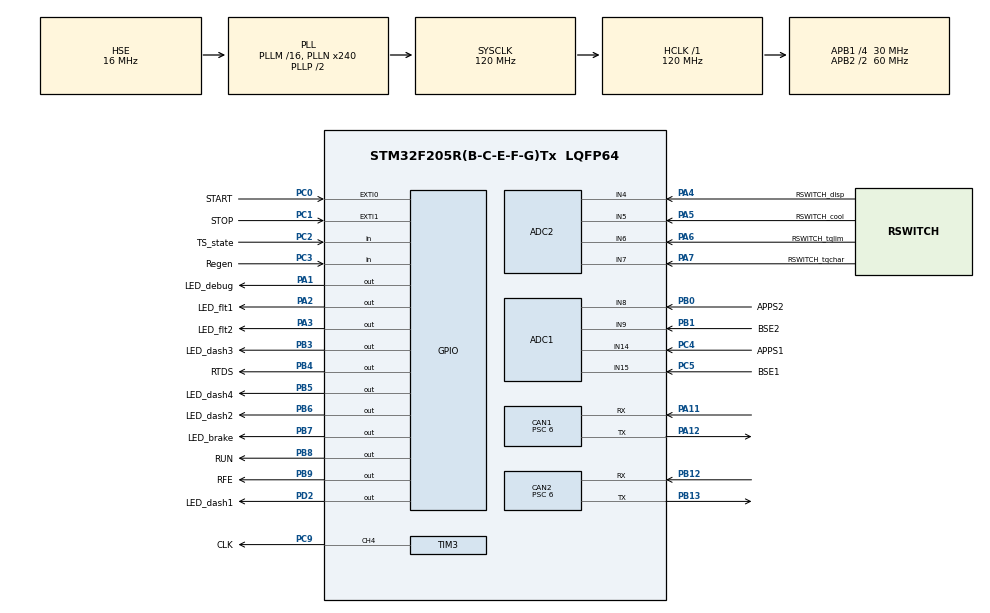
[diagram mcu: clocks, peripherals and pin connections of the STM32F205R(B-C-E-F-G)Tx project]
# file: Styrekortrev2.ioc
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ADC1.Channel-0\#ChannelRegularConversion=ADC_CHANNEL_14
ADC1.ClockPrescaler=ADC_CLOCK_SYNC_PCLK_DIV6
ADC1.NbrOfConversionFlag=1
ADC1.Rank-0\#ChannelRegularConversion=1
ADC1.SamplingTime-0\#ChannelRegularConversion=ADC_SAMPLETIME_3CYCLES
ADC1.master=1
ADC2.Channel-0\#ChannelRegularConversion=ADC_CHANNEL_4
ADC2.ClockPrescaler=ADC_CLOCK_SYNC_PCLK_DIV6
ADC2.NbrOfConversionFlag=1
ADC2.Rank-0\#ChannelRegularConversion=1
ADC2.SamplingTime-0\#ChannelRegularConversion=ADC_SAMPLETIME_3CYCLES
CAN1.BS1=CAN_BS1_3TQ
CAN1.BS2=CAN_BS2_6TQ
CAN1.CalculateBaudRate=500000
CAN1.CalculateTimeBit=2000
CAN1.CalculateTimeQuantum=200.0
CAN1.Prescaler=6
CAN2.BS1=CAN_BS1_3TQ
CAN2.BS2=CAN_BS2_6TQ
CAN2.CalculateBaudRate=500000
CAN2.CalculateTimeBit=2000
CAN2.CalculateTimeQuantum=200.0
CAN2.Prescaler=6
Mcu.Family=STM32F2
Mcu.Name=STM32F205R(B-C-E-F-G)Tx
Mcu.Package=LQFP64
NVIC.CAN1_RX0_IRQn=true\:0\:0\:false\:false\:true\:true\:true\:true
NVIC.CAN1_RX1_IRQn=true\:0\:0\:false\:false\:true\:true\:true\:true
NVIC.CAN2_RX1_IRQn=true\:0\:0\:false\:false\:true\:true\:true\:true
NVIC.EXTI0_IRQn=true\:0\:0\:false\:false\:true\:true\:true\:true
NVIC.EXTI1_IRQn=true\:0\:0\:false\:false\:true\:true\:true\:true
NVIC.PriorityGroup=NVIC_PRIORITYGROUP_4
NVIC.TIM6_DAC_IRQn=true\:0\:0\:false\:false\:true\:true\:true\:true
NVIC.TIM7_IRQn=true\:0\:0\:false\:false\:true\:true\:true\:true
PA1.GPIO_Label=LED_debug
PA1.Signal=GPIO_Output
PA10.GPIO_Label=RS_RX
PA10.GPIO_Speed=GPIO_SPEED_FREQ_LOW
PA10.Signal=USART1_RX
PA11.GPIO_Speed=GPIO_SPEED_FREQ_LOW
PA11.Mode=CAN_Activate
PA11.Signal=CAN1_RX
PA12.GPIO_Speed=GPIO_SPEED_FREQ_LOW
PA12.Mode=CAN_Activate
PA12.Signal=CAN1_TX
PA13.Signal=SYS_JTMS-SWDIO
PA14.Signal=SYS_JTCK-SWCLK
PA2.GPIO_Label=LED_flt1
PA2.Signal=GPIO_Output
PA3.GPIO_Label=LED_flt2
PA3.Signal=GPIO_Output
PA4.GPIO_Label=RSWITCH_disp
PA4.Signal=ADCx_IN4
PA5.GPIO_Label=RSWITCH_cool
PA5.Signal=ADCx_IN5
PA6.GPIO_Label=RSWITCH_tqlim
PA6.Signal=ADCx_IN6
PA7.GPIO_Label=RSWITCH_tqchar
PA7.Signal=ADCx_IN7
PA9.GPIO_Label=RS_TX
PA9.GPIO_Speed=GPIO_SPEED_FREQ_LOW
PA9.Signal=USART1_TX
PB0.GPIO_Label=APPS2
PB0.Signal=ADCx_IN8
PB1.GPIO_Label=BSE2
PB1.Signal=ADCx_IN9
PB12.GPIO_Speed=GPIO_SPEED_FREQ_LOW
PB12.Mode=CAN_Activate
PB12.Signal=CAN2_RX
PB13.GPIO_Speed=GPIO_SPEED_FREQ_LOW
PB13.Mode=CAN_Activate
PB13.Signal=CAN2_TX
PB3.GPIO_Label=LED_dash3
PB3.Signal=GPIO_Output
PB4.GPIO_Label=RTDS
PB4.Signal=GPIO_Output
PB5.GPIO_Label=LED_dash4
PB5.Signal=GPIO_Output
PB6.GPIO_Label=LED_dash2
PB6.Signal=GPIO_Output
PB7.GPIO_Label=LED_brake
PB7.Signal=GPIO_Output
PB8.GPIO_Label=RUN
PB8.Signal=GPIO_Output
PB9.GPIO_Label=RFE
PB9.Signal=GPIO_Output
PC0.GPIO_Label=START
PC0.Signal=GPXTI0
PC1.GPIO_Label=STOP
PC1.Signal=GPXTI1
PC2.GPIO_Label=TS_state
PC2.Signal=GPIO_Input
PC3.GPIO_Label=Regen
PC3.Signal=GPIO_Input
PC4.GPIO_Label=APPS1
PC4.Signal=ADCx_IN14
PC5.GPIO_Label=BSE1
PC5.Signal=ADCx_IN15
PC9.GPIO_Label=CLK
PC9.Signal=S_TIM3_CH4
PD2.GPIO_Label=LED_dash1
PD2.Signal=GPIO_Output
PH0-OSC_IN.Mode=HSE-External-Oscillator
PH0-OSC_IN.Signal=RCC_OSC_IN
PH1-OSC_OUT.Mode=HSE-External-Oscillator
PH1-OSC_OUT.Signal=RCC_OSC_OUT
ProjectManager.HeapSize=0x200
ProjectManager.StackSize=0x400
ProjectManager.TargetToolchain=STM32CubeIDE
RCC.48MHZClocksFreq_Value=60000000
RCC.AHBFreq_Value=120000000
RCC.APB1CLKDivider=RCC_HCLK_DIV4
RCC.APB1Freq_Value=30000000
RCC.APB1TimFreq_Value=60000000
RCC.APB2CLKDivider=RCC_HCLK_DIV2
RCC.APB2Freq_Value=60000000
RCC.APB2TimFreq_Value=120000000
RCC.CortexFreq_Value=120000000
RCC.HCLKFreq_Value=120000000
RCC.HSE_VALUE=16000000
RCC.HSI_VALUE=16000000
RCC.LSE_VALUE=32768
RCC.PLLN=240
RCC.PLLSourceVirtual=RCC_PLLSOURCE_HSE
RCC.SYSCLKFreq_VALUE=120000000
RCC.SYSCLKSource=RCC_SYSCLKSOURCE_PLLCLK
RCC.VCOOutputFreq_Value=240000000
SH.ADCx_IN14.0=ADC1_IN14,IN14
SH.ADCx_IN15.0=ADC1_IN15,IN15
SH.ADCx_IN4.0=ADC2_IN4,IN4
SH.ADCx_IN5.0=ADC2_IN5,IN5
SH.ADCx_IN6.0=ADC2_IN6,IN6
SH.ADCx_IN7.0=ADC2_IN7,IN7
SH.ADCx_IN8.0=ADC1_IN8,IN8
SH.ADCx_IN9.0=ADC1_IN9,IN9
SH.S_TIM3_CH4.0=TIM3_CH4,PWM Generation4 CH4
TIM3.Channel-PWM\ Generation4\ CH4=TIM_CHANNEL_4
TIM3.OCMode_PWM-PWM\ Generation4\ CH4=TIM_OCMODE_PWM1
TIM3.Period=240-1
TIM3.Prescaler=10-1
TIM3.Pulse-PWM\ Generation4\ CH4=120
TIM6.Period=10000-1
TIM6.Prescaler=600-1
TIM7.Period=1000-1
TIM7.Prescaler=600-1
VP_TIM3_VS_ClockSourceINT.Mode=Internal
VP_TIM6_VS_ClockSourceINT.Mode=Enable_Timer
VP_TIM7_VS_ClockSourceINT.Mode=Enable_Timer
board=custom

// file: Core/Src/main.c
/* USER CODE BEGIN Header */
/**
  ******************************************************************************
  * @file           : main.c
  * @brief          : Main program body
  ******************************************************************************
  * @attention
  *
  * Copyright (c) 2023 STMicroelectronics.
  * All rights reserved.
  *
  * This software is licensed under terms that can be found in the LICENSE file
  * in the root directory of this software component.
  * If no LICENSE file comes with this software, it is provided AS-IS.
  *
  ******************************************************************************
  */
/* USER CODE END Header */
#include "main.h"

/* USER CODE BEGIN Includes */
#include "power_limiter.h"

/* USER CODE END Includes */

ADC_HandleTypeDef hadc1;
ADC_HandleTypeDef hadc2;

CAN_HandleTypeDef hcan1;
CAN_HandleTypeDef hcan2;

TIM_HandleTypeDef htim3;
TIM_HandleTypeDef htim6;
TIM_HandleTypeDef htim7;

/* USER CODE BEGIN PV */

// Regen
volatile uint8_t Regen_on = 0;

volatile uint8_t TS_state;			//TS state from accumulator
volatile int32_t MCU_Data;

// RTD variables
volatile uint16_t RTDS_time = 0;		// active time for rtds
volatile uint16_t RTDS_maxtime = 30;		// deactivation time for rtds, calculate value
volatile uint8_t RTDS_mode = 0;
volatile uint8_t RTD_state = 0;		// ready to drive state

// Startup LED
volatile uint16_t Startup_time = 0;		// active time for rtds
volatile uint16_t Startup_maxtime = 30;		// deactivation time for rtds, calculate value
volatile uint8_t Startup_mode = 0;

// Dash control variables
volatile uint8_t log_sw;		// log switch state
volatile uint8_t Disp_mode = 0;
volatile uint16_t RSW_predisp1 = 0;
volatile uint16_t RSW_predisp2 = 0;
volatile uint16_t RSW_predisp3 = 0;
volatile uint16_t RSW_predisp4 = 0;
volatile uint16_t RSW_predisp5 = 0;
volatile uint16_t RSW_predisp6 = 0;
volatile uint16_t RSW_predisp7 = 0;
volatile uint16_t RSW_disp;
volatile uint16_t RSW_pretemp1 = 0;
volatile uint16_t RSW_pretemp2 = 0;
volatile uint16_t RSW_pretemp3 = 0;
volatile uint16_t RSW_pretemp4 = 0;
volatile uint16_t RSW_pretemp5 = 0;
volatile uint16_t RSW_pretemp6 = 0;
volatile uint16_t RSW_pretemp7 = 0;
volatile uint16_t RSW_temp;
volatile uint16_t RSW_preTQlim1 = 0;
volatile uint16_t RSW_preTQlim2 = 0;
volatile uint16_t RSW_preTQlim3 = 0;
volatile uint16_t RSW_preTQlim4 = 0;
volatile uint16_t RSW_preTQlim5 = 0;
volatile uint16_t RSW_preTQlim6 = 0;
volatile uint16_t RSW_preTQlim7 = 0;
volatile uint16_t RSW_TQlim;
volatile uint16_t RSW_preTQchar1 = 0;
volatile uint16_t RSW_preTQchar2 = 0;
volatile uint16_t RSW_preTQchar3 = 0;
volatile uint16_t RSW_preTQchar4 = 0;
volatile uint16_t RSW_preTQchar5 = 0;
volatile uint16_t RSW_preTQchar6 = 0;
volatile uint16_t RSW_preTQchar7 = 0;
volatile uint16_t RSW_TQchar;
volatile uint8_t Disp_pos;
volatile uint8_t Temp_pos;
volatile uint8_t TQchar_pos;
volatile uint8_t TQlim_pos;
volatile uint8_t Pre_Disp_pos;
volatile uint8_t Pre_Temp_pos;
volatile uint8_t Pre_TQchar_pos;
volatile uint8_t Pre_TQlim_pos;

// IMU
volatile uint8_t acc;

// Temperature

volatile uint8_t temp;		// temperature reported from temperature module
volatile uint8_t tempmax = 50;		//maximum temperature threshold before warning
volatile uint8_t Temp_mode = 0;		// temp control mode

// APPS CAL
#define APPS_DZ 			300
#define APPS1_RAW_IDLE_L	1567
#define APPS1_RAW_IDLE_R	1561
#define APPS1_RAW_MAX_L		2900
#define APPS1_RAW_MAX_R		2900
#define APPS2_RAW_IDLE_L	2680
#define APPS2_RAW_IDLE_R	2710
#define APPS2_RAW_MAX_L		4050
#define APPS2_RAW_MAX_R		4083

#define APPS1_RAW_IDLE_AVG	((APPS1_RAW_IDLE_L+APPS1_RAW_IDLE_R)/2)
#define APPS1_RAW_MAX_AVG	((APPS1_RAW_MAX_L+APPS1_RAW_MAX_R)/2)
#define APPS2_RAW_IDLE_AVG	((APPS2_RAW_IDLE_L+APPS2_RAW_IDLE_R)/2)
#define APPS2_RAW_MAX_AVG	((APPS2_RAW_MAX_L+APPS2_RAW_MAX_R)/2)

int16_t MCU_id, MCU_iq, MCU_vd, MCU_vq, MCU_RPM, MCU_Vdc;
int16_t AMS_idc, AMS_ilimp, AMS_ilimn;
uint16_t AMS_vdc;

volatile uint16_t APPS1_raw;        // read APPS1 adc value

volatile uint16_t APPS2_raw;        // read APPS2 adc value
volatile uint16_t APPS1;        // APPS1 travel percentage
volatile uint16_t APPS2;        // APPS2 travel percentage
volatile uint16_t APPS_offset = 3266;
volatile uint16_t APPS1_idle = APPS1_RAW_IDLE_AVG;    // idle value for apps1
volatile uint16_t APPS2_idle = APPS2_RAW_IDLE_AVG;    // idle value for apps2
volatile float APPS1_x = (10000 + APPS_DZ)/(APPS1_RAW_MAX_AVG-APPS1_RAW_IDLE_AVG);    // apps1 conversion multiplier
volatile float APPS2_x = (10000 + APPS_DZ)/(APPS2_RAW_MAX_AVG-APPS2_RAW_IDLE_AVG);    // apps2 conversion  multiplier
volatile uint16_t APPS_avg;        // average value from APPS sensors
volatile uint16_t APPS_error;        // percent error from plausability check
volatile uint16_t APPS_maxerror = 910;        // Maximum error from plausability check
volatile uint16_t APPS_dz = APPS_DZ;        // APPS deadzone
volatile uint16_t APPS_min = 800; 		// Minimum travel for BSPD to activate (før 300)

// BSE

volatile uint16_t BSE1_raw;        // read BSE1 adc value
volatile uint16_t BSE2_raw;        // read BSE2 adc value
volatile uint16_t BSE1;        // BSE1 travel percentage
volatile uint16_t BSE2;        // BSE2 travel percentage
volatile uint16_t BSE1_idle = 390;    // idle value for BSE1
volatile uint16_t BSE2_idle = 385;    // idle value for BSE2
volatile uint16_t BSE_brake;        // minimum BSE value for brakelight
volatile uint16_t BSE1_error;        // percent error from plausability check
volatile uint16_t BSE2_error;
//volatile uint16_t BSE_maxerror = 2000;        // Maximum error from plausability check, find better value (var 350)
volatile uint16_t BSE_avg;        // average value from BSE sensors
volatile uint16_t BSE_min = 200;        // Minimum travel for BSPD to activate (tidligere 14)
volatile uint16_t brakeL_min = 120;
volatile uint16_t BSE_start = 1000;        // minimum BSE travel to start
volatile uint16_t BSE1_minerror = 100;		//Må måles
volatile uint16_t BSE2_minerror = 100;		//Må måles
volatile uint16_t BSE1_maxerror = 8000;		//Må måles
volatile uint16_t BSE2_maxerror = 8000;		//Må måles

// Torq

volatile int32_t TQ = 0;        // Commanding motortorq(%)
volatile int32_t TQ_pre = 0;
volatile uint16_t TQ_MaxPos = 32767;        // Max torq
volatile int16_t TQ_MaxNeg = -32767;
volatile uint8_t TQ_lim = 1;        // Torq limit
volatile uint8_t TQ_mode = 0;        // Torq mode
volatile uint16_t TQ_hex;        // hexadecimal torq
volatile int8_t TQ_CAN[2];        // Torq for CAN
volatile uint8_t TQ_online = 0;  // Sending torq state
volatile uint16_t TQ_prev = 0;
volatile uint16_t TQ_diff;
volatile uint16_t diff_lim = 6000;

// CAN

CAN_TxHeaderTypeDef   TxHeader;
CAN_RxHeaderTypeDef   RxHeader;
uint8_t               TxData[8];
uint8_t               RxData[8];
uint32_t              TxMailbox;
uint8_t canRX[8] = {0,0,0,0,0,0,0,0};  //CAN Bus Receive Buffer
CAN_FilterTypeDef canfil; //CAN Bus Filter

// Debug variables

volatile uint16_t APPS1_dbflt = 0;	// apps1 negative error
volatile uint16_t APPS2_dbflt = 0;	// apps2 negative error
volatile uint16_t test = 0;		//blank testvariable
volatile uint16_t test2 = 0;		//second blank testvariable
volatile uint8_t CAN_dbflt = 0;		// CAN sendingfaults

/* USER CODE END PV */

void SystemClock_Config(void);
static void MX_GPIO_Init(void);
static void MX_ADC1_Init(void);
static void MX_ADC2_Init(void);
static void MX_CAN1_Init(void);
static void MX_CAN2_Init(void);
static void MX_TIM3_Init(void);
static void MX_TIM6_Init(void);
static void MX_TIM7_Init(void);
/* USER CODE BEGIN PFP */

static void TempErrrorCheck(void);
static void Plaus(void);
static void BSPD(void);
static void APPS_read(void);
static void BSE_read(void);
static void RSW_read(void);
static void RSW_calc(void);
static void Bremselys(void);
static void Torq_calc(void);
static void BSE_calc(void);
static void BrakeLED(void);
static void RTDS_run(void);
static void Startup_run(void);
static void CAN_TQ(void);
static void CAN_APPS(int);
static void CAN_BSE1(int);
static void CAN_BSE2(int);
static void CAN_log(int);
static void CAN_tempmode(void);
static void CAN_dispmode(void);
static void CAN2_test(void);
static void CAN_MCU_read(void);

/* USER CODE END PFP */

/* USER CODE BEGIN 0 */
/*
void TempErrrorCheck(void){		// Checks for overtemperature, sends to LED

	 if (temp > tempmax){
	 	 //HAL_GPIO_WritePin(GPIOB, LED_temp, GPIO_PIN_SET);}	// enables dash temperature LED if overtemperature
	 }
	 //add CAN tempwarning

	 else
	 	 {//HAL_GPIO_WritePin(GPIOB, LED_temp, GPIO_PIN_RESET);}	// resets LED
		}
*/

void Plaus(void){        // contains plausability checks for apps and bse

    APPS_error = abs(APPS1 - APPS2);

    if (APPS_error > APPS_maxerror ){		// Checking if the APPS sensors differ from each other
        //HAL_GPIO_WritePin(GPIOB, LED_APPS, GPIO_PIN_SET);        // enables APPS dash fault LED
        //add CAN appswarning
        //deactivate RFE/RUN
        RTD_state = 0;        // turn MCU off
        TQ_online = 0;
        CAN_APPS(1);
        HAL_GPIO_WritePin(GPIOA, LED_flt1_Pin, GPIO_PIN_SET);		//Turn on fault LED 1 on circuit board
        HAL_GPIO_WritePin(GPIOB, LED_dash2_Pin, GPIO_PIN_SET);		//Turn on fault LED 1 on dashboard
        HAL_GPIO_WritePin(GPIOB, LED_dash4_Pin, GPIO_PIN_RESET);    //Turn off RTD led on dashboard

        BSE1_error = abs(BSE1_raw);
        BSE2_error = abs(BSE2_raw);
         if (BSE1_error > BSE1_maxerror || BSE1_error < BSE1_minerror)		// Checking if the brake pressure is valid
             {//add CAN bsewarning
             RTD_state = 0;        // turn MCU off
             TQ_online = 0;
        	 CAN_BSE1(1);
        	 HAL_GPIO_WritePin(GPIOA, LED_debug_Pin, GPIO_PIN_SET);		//Turn on fault LED 2 on circuit board
        	 HAL_GPIO_WritePin(GPIOB, LED_dash3_Pin, GPIO_PIN_SET);		//Turn on fault LED 3 on dashboard
        	 HAL_GPIO_WritePin(GPIOB, LED_dash4_Pin, GPIO_PIN_RESET);   //Turn RTD led on dashboard off
             }

         if (BSE2_error > BSE2_maxerror || BSE2_error < BSE2_minerror)		// Checking if the brake pressure is valid
             {//add CAN bsewarning
             RTD_state = 0;        // turn MCU off
             TQ_online = 0;
             CAN_BSE2(1);
             HAL_GPIO_WritePin(GPIOA, LED_debug_Pin, GPIO_PIN_SET);		//Turn on fault LED 2 on circuit board
             HAL_GPIO_WritePin(GPIOB, LED_dash3_Pin, GPIO_PIN_SET);		//Turn on fault LED 3 on dashboard
             HAL_GPIO_WritePin(GPIOB, LED_dash4_Pin, GPIO_PIN_RESET);   //Turn RTD led on dashboard off
             }

    }

     else{
         APPS_avg = (APPS1+APPS2)/2;    // Takes average from apps pedals
         BSE1_error = abs(BSE1_raw);
         BSE2_error = abs(BSE2_raw);

         if (BSE1_error > BSE1_maxerror || BSE1_error < BSE1_minerror)		// Checking if the brake pressure is valid
             {//add CAN bsewarning
             RTD_state = 0;        // turn MCU off
             TQ_online = 0;
           	 CAN_BSE1(1);
          	 HAL_GPIO_WritePin(GPIOA, LED_debug_Pin, GPIO_PIN_SET);		//Turn on fault LED 2 on circuit board
           	 HAL_GPIO_WritePin(GPIOB, LED_dash3_Pin, GPIO_PIN_SET);		//Turn on fault LED 3 on dashboard
           	 HAL_GPIO_WritePin(GPIOB, LED_dash4_Pin, GPIO_PIN_RESET);   //Turn RTD led on dashboard off
             }

          if (BSE2_error > BSE2_maxerror || BSE2_error < BSE2_minerror)		// Checking if the brake pressure is valid
              {//add CAN bsewarning
              RTD_state = 0;        // turn MCU off
              TQ_online = 0;
              CAN_BSE2(1);
              HAL_GPIO_WritePin(GPIOA, LED_debug_Pin, GPIO_PIN_SET);		//Turn on fault LED 2 on circuit board
              HAL_GPIO_WritePin(GPIOB, LED_dash3_Pin, GPIO_PIN_SET);		//Turn on fault LED 3 on dashboard
              HAL_GPIO_WritePin(GPIOB, LED_dash4_Pin, GPIO_PIN_RESET);   //Turn RTD led on dashboard off
              }

          else
               {//HAL_GPIO_WritePin(GPIOB, LED_APPS, GPIO_PIN_RESET);
               BSE_avg = (BSE1+BSE2)/2;}    // Takes average from bse pedals
               }

    }

void BSPD(void){        // BSPD check (mainly done on bspd card)
    if (BSE_avg > BSE_min) {
        if(APPS_avg > APPS_min){
            TQ_online = 0;
            TQ = 0;
            HAL_GPIO_WritePin(GPIOA, LED_flt2_Pin, GPIO_PIN_SET);		//Turn on fault LED 1 on dashboard
            HAL_GPIO_WritePin(LED_dash1_GPIO_Port, LED_dash1_Pin, GPIO_PIN_SET);		//Turn on temp LED on dashboard

            //test++;
        }
            // CAN send BSPD error
    }
}
void APPS_read(void){		// reads APPS
	ADC_ChannelConfTypeDef sConfig = {0};
	  sConfig.Channel = ADC_CHANNEL_14;
	  sConfig.Rank = 1;
	  sConfig.SamplingTime = ADC_SAMPLETIME_3CYCLES;
	  if (HAL_ADC_ConfigChannel(&hadc1, &sConfig) != HAL_OK){Error_Handler();}

	HAL_ADC_Start(&hadc1); // Start ADC1
	HAL_ADC_PollForConversion(&hadc1, HAL_MAX_DELAY); // Wait for conversions to be done
	APPS1_raw  = HAL_ADC_GetValue(&hadc1);
	HAL_ADC_Stop(&hadc1);

	//ADC_ChannelConfTypeDef sConfig = {0};
	  sConfig.Channel = ADC_CHANNEL_8;
	  sConfig.Rank = 1;
	  sConfig.SamplingTime = ADC_SAMPLETIME_3CYCLES;
	  if (HAL_ADC_ConfigChannel(&hadc1, &sConfig) != HAL_OK){Error_Handler();}

		HAL_ADC_Start(&hadc1); // Start ADC1
		HAL_ADC_PollForConversion(&hadc1, HAL_MAX_DELAY); // Wait for conversions to be done
		APPS2_raw  = HAL_ADC_GetValue(&hadc1);
		HAL_ADC_Stop(&hadc1);}

void BSE_read(void){		//Reads BSE

    ADC_ChannelConfTypeDef sConfig = {0};
    sConfig.Channel = ADC_CHANNEL_15;
    sConfig.Rank = 1;
    sConfig.SamplingTime = ADC_SAMPLETIME_3CYCLES;
    if (HAL_ADC_ConfigChannel(&hadc1, &sConfig) != HAL_OK) {Error_Handler();}

    HAL_ADC_Start(&hadc1); // Start ADC1
    HAL_ADC_PollForConversion(&hadc1, HAL_MAX_DELAY); // Wait for conversions to be done
    BSE1_raw  = HAL_ADC_GetValue(&hadc1);
    HAL_ADC_Stop(&hadc1);

    sConfig.Channel = ADC_CHANNEL_9;
    sConfig.Rank = 1;
    sConfig.SamplingTime = ADC_SAMPLETIME_3CYCLES;
    if (HAL_ADC_ConfigChannel(&hadc1, &sConfig) != HAL_OK){Error_Handler();}

    HAL_ADC_Start(&hadc1); // Start ADC1
    HAL_ADC_PollForConversion(&hadc1, HAL_MAX_DELAY); // Wait for conversions to be done
    BSE2_raw  = HAL_ADC_GetValue(&hadc1);
    HAL_ADC_Stop(&hadc1);
}

void RSW_read(void){

	//	display switch

    ADC_ChannelConfTypeDef sConfig = {0};
    sConfig.Channel = ADC_CHANNEL_4;
    sConfig.Rank = 1;
    sConfig.SamplingTime = ADC_SAMPLETIME_3CYCLES;
    if (HAL_ADC_ConfigChannel(&hadc2, &sConfig) != HAL_OK) {Error_Handler();}

    RSW_predisp7 = RSW_predisp6;
	RSW_predisp6 = RSW_predisp5;
    RSW_predisp5 = RSW_predisp4;
    RSW_predisp4 = RSW_predisp3;
    RSW_predisp3 = RSW_predisp2;
    RSW_predisp2 = RSW_predisp1;
    HAL_ADC_Start(&hadc2); // Start ADC1
    HAL_ADC_PollForConversion(&hadc2, HAL_MAX_DELAY); // Wait for conversions to be done
    RSW_predisp1  = HAL_ADC_GetValue(&hadc2);
    HAL_ADC_Stop(&hadc2);
    RSW_disp = (RSW_predisp1+RSW_predisp2+RSW_predisp3+RSW_predisp4+RSW_predisp5+RSW_predisp6+RSW_predisp7)/7;

    //	cooling

    sConfig.Channel = ADC_CHANNEL_5;
    sConfig.Rank = 1;
    sConfig.SamplingTime = ADC_SAMPLETIME_3CYCLES;
    if (HAL_ADC_ConfigChannel(&hadc2, &sConfig) != HAL_OK){Error_Handler();}

    RSW_pretemp7 = RSW_pretemp6;
	RSW_pretemp6 = RSW_pretemp5;
    RSW_pretemp5 = RSW_pretemp4;
    RSW_pretemp4 = RSW_pretemp3;
    RSW_pretemp3 = RSW_pretemp2;
    RSW_pretemp2 = RSW_pretemp1;
    HAL_ADC_Start(&hadc2); // Start ADC1
    HAL_ADC_PollForConversion(&hadc2, HAL_MAX_DELAY); // Wait for conversions to be done
    RSW_pretemp1  = HAL_ADC_GetValue(&hadc2);
    HAL_ADC_Stop(&hadc2);
    RSW_temp = (RSW_pretemp1+RSW_pretemp2+RSW_pretemp3+RSW_pretemp4+RSW_pretemp5+RSW_pretemp6+RSW_pretemp7)/7;

	//	TQ char

    sConfig.Channel = ADC_CHANNEL_6;
    sConfig.Rank = 1;
    sConfig.SamplingTime = ADC_SAMPLETIME_3CYCLES;
    if (HAL_ADC_ConfigChannel(&hadc2, &sConfig) != HAL_OK) {Error_Handler();}

    RSW_preTQchar7 = RSW_preTQchar6;
	RSW_preTQchar6 = RSW_preTQchar5;
    RSW_preTQchar5 = RSW_preTQchar4;
    RSW_preTQchar4 = RSW_preTQchar3;
    RSW_preTQchar3 = RSW_preTQchar2;
    RSW_preTQchar2 = RSW_preTQchar1;
    HAL_ADC_Start(&hadc2); // Start ADC1
    HAL_ADC_PollForConversion(&hadc2, HAL_MAX_DELAY); // Wait for conversions to be done
    RSW_preTQchar1  = HAL_ADC_GetValue(&hadc2);
    HAL_ADC_Stop(&hadc2);
    RSW_TQchar = (RSW_preTQchar1+RSW_preTQchar2+RSW_preTQchar3+RSW_preTQchar4+RSW_preTQchar5+RSW_preTQchar6+RSW_preTQchar7)/7;

    //	TQ limiter

    sConfig.Channel = ADC_CHANNEL_7;
    sConfig.Rank = 1;
    sConfig.SamplingTime = ADC_SAMPLETIME_3CYCLES;
    if (HAL_ADC_ConfigChannel(&hadc2, &sConfig) != HAL_OK){Error_Handler();}

    RSW_preTQlim7 = RSW_preTQlim6;
    RSW_preTQlim6 = RSW_preTQlim5;
    RSW_preTQlim5 = RSW_preTQlim4;
    RSW_preTQlim4 = RSW_preTQlim3;
    RSW_preTQlim3 = RSW_preTQlim2;
    RSW_preTQlim2 = RSW_preTQlim1;
    HAL_ADC_Start(&hadc2); // Start ADC1
    HAL_ADC_PollForConversion(&hadc2, HAL_MAX_DELAY); // Wait for conversions to be done
    RSW_preTQlim1  = HAL_ADC_GetValue(&hadc2);
    HAL_ADC_Stop(&hadc2);
    RSW_TQlim = (RSW_preTQlim1+RSW_preTQlim2+RSW_preTQlim3+RSW_preTQlim4+RSW_preTQlim5+RSW_preTQlim6+RSW_preTQlim7)/7;
}

void RSW_calc(void){		// Calculating rotary switch position

	//	display switch
//	Pre_Disp_pos = Disp_pos;
	if (RSW_disp >= 3612 && RSW_disp < 3650 ){Disp_pos = 1;}
	else if (RSW_disp >= 3582 && RSW_disp < 3614 ){Disp_pos = 2;}
	else if (RSW_disp >= 3554 && RSW_disp < 3582 ){Disp_pos = 3;}
	else if (RSW_disp >= 3500 && RSW_disp < 3554 ){Disp_pos = 4;}
	else {Disp_pos = 5;}
//	if (Disp_pos != Pre_Disp_pos){Disp_pos = Pre_Disp_pos;}

	//	Cooling switch
//	Pre_Temp_pos = Temp_pos;
	if (RSW_temp >= 3500 && RSW_temp < 3554 ){Temp_pos = 1;}
	else if (RSW_temp >= 3554 && RSW_temp < 3582 ){Temp_pos = 2;}
	else if (RSW_temp >= 3582 && RSW_temp < 3612 ){Temp_pos = 3;}
	else if (RSW_temp >= 3612 && RSW_temp < 3668 ){Temp_pos = 4;}
	else {Temp_pos = 5;}
//	if (Temp_pos != Pre_Temp_pos){Temp_pos = Pre_Temp_pos;}

	//	TQ char switch
//	Pre_TQchar_pos = TQchar_pos;
	if (RSW_TQchar >= 3500 && RSW_TQchar < 3559){TQchar_pos = 1;}
	else if (RSW_TQchar >= 3559 && RSW_TQchar < 3587){TQchar_pos = 2;}
	else if (RSW_TQchar >= 3587 && RSW_TQchar < 3618){TQchar_pos = 3;}
	else if (RSW_TQchar >= 3618 && RSW_TQchar < 3669){TQchar_pos = 4;}
	else {TQchar_pos = 5;}
//	if (TQchar_pos != Pre_TQchar_pos){TQchar_pos = Pre_TQchar_pos;}

	//	TQ limiter switch
//	Pre_TQlim_pos = TQlim_pos;
	if (RSW_TQlim >= 3500 && RSW_TQlim < 3550 && TQ <= 0){TQlim_pos = 1;}
	else if (RSW_TQlim >= 3550 && RSW_TQlim < 3577 && TQ <= 0){TQlim_pos = 2;}
	else if (RSW_TQlim >= 3577 && RSW_TQlim < 3609 && TQ <= 0){TQlim_pos = 3;}
	else if (RSW_TQlim >= 3609 && RSW_TQlim < 3656 && TQ <= 0){TQlim_pos = 4;}
	else {TQlim_pos = 5;}
//	if (TQlim_pos != Pre_TQlim_pos){TQlim_pos = Pre_TQlim_pos;}
}

void Torq_calc(void){        // Calculate torq

    //calculate adc to percentage value here
        APPS_read();
        //apps raw to 0-10k
        if (APPS1_raw <=APPS1_idle){APPS1_dbflt++;}        // maybe useless
        if (APPS2_raw <=APPS2_idle){APPS2_dbflt++;}

        APPS1 = (APPS1_raw-APPS1_idle)*APPS1_x;
        APPS2 = (APPS2_raw-APPS2_idle)*APPS2_x;

        if (APPS1 > 15000){APPS1 = 0;}		// protects from overflow
        if (APPS2 > 15000){APPS2 = 0;}

//        Code for regen (apps controlled)
//        if (Regen_on == 1){
//        	if (TQlim_pos == 1){
//        		TQ = (((APPS_avg)-1225)*1.1428)*TQ_lim*3.276*1.0309;}
//        	else if (TQlim_pos == 2){
//        		TQ = (((APPS_avg)-2450)*1.3333)*TQ_lim*3.276*1.0309;}
//        	else if (TQlim_pos == 3){
//        		TQ = (((APPS_avg)-3675)*1.6)*TQ_lim*3.276*1.0309;}
//        	else if (TQlim_pos == 4){
//        		TQ = (((APPS_avg)-4900)*2)*TQ_lim*3.276*1.0309;}
//        	else{
//                if (APPS_avg < APPS_dz){TQ=0;}
//                else{TQ = (APPS_avg) * TQ_lim*3.276*1.0309;}
//        	}
//        }

//                Code for regen (BSE controlled)
//		if (Regen_on == 1 && BSE_avg > BSE_min){
//			TQ = -(BSE_avg*10);}
//
//		else {
//			if (APPS_avg < APPS_dz){TQ=0;}   // Use this when regen
//			else{TQ = (APPS_avg) * TQ_lim*3.276*1.0309;}
//		}

		//    code for without regen
		TQ = (APPS_avg) * TQ_lim*3.276*1.0309;

        if (TQ>TQ_MaxPos){TQ = TQ_MaxPos;}    // Stops TQ from going to high
        if (TQ<TQ_MaxNeg){TQ = TQ_MaxNeg;}    // Stops TQ from going to high

}

void Bremselys(void){     //Activate the brakelight

//	if(BSE_avg > brakeL_min || acc < -1){HAL_GPIO_WritePin(GPIOB, LED_brake_Pin, GPIO_PIN_SET);}

	if(BSE_avg > brakeL_min){HAL_GPIO_WritePin(GPIOB, LED_brake_Pin, GPIO_PIN_SET);}
	else{HAL_GPIO_WritePin(GPIOB, LED_brake_Pin, GPIO_PIN_RESET);}}

void RTDS_run(void){

	//HAL_GPIO_WritePin(RTDS_GPIO_Port, RTDS, GPIO_PIN_SET);	// activate RTDS
	//for(int i = 0; i < 1; i++) {
		//HAL_Delay(100);
		RTDS_mode = 1;
		HAL_GPIO_WritePin(GPIOB,RTDS_Pin, GPIO_PIN_SET);
		test++;

  // Code block to be executed 5 times
//}
}

void Startup_run(void){

	//HAL_GPIO_WritePin(RTDS_GPIO_Port, RTDS, GPIO_PIN_SET);	// activate RTDS
	//for(int i = 0; i < 1; i++) {
		//HAL_Delay(100);
		Startup_mode = 1;
		HAL_GPIO_WritePin(LED_dash1_GPIO_Port, LED_dash1_Pin, GPIO_PIN_SET);
		HAL_GPIO_WritePin(GPIOB, LED_dash2_Pin, GPIO_PIN_SET);
		HAL_GPIO_WritePin(GPIOB, LED_dash3_Pin, GPIO_PIN_SET);

  // Code block to be executed 5 times
//}
}

void BSE_calc(void){		//Calculate the BSE
        BSE_read();
        BSE1 = (BSE1_raw - BSE1_idle);
        BSE2 = (BSE2_raw - BSE2_idle);
        if (BSE1 > 5000){BSE1 = 0;}
        if (BSE2 > 5000){BSE2 = 0;}
        BSE_avg = (BSE1 + BSE2)/2;

}

void CAN_TQ(void){		// send torq to mcu

	TxHeader.IDE = CAN_ID_STD;
	TxHeader.StdId = 0x210;
	TxHeader.RTR = CAN_RTR_DATA;
	TxHeader.DLC = 3;

//    char hex_string[5];
//    sprintf(hex_string, "%04X", TQ);
//
//    TQ_CAN[0] = strtol(hex_string, NULL, 16) & 0xFF; // lower byte
//    TQ_CAN[1] = (strtol(hex_string, NULL, 16) >> 8) & 0xFF; // upper byte

    //test++;
    TxData[0] = 0x90;
	TxData[1] = ((int16_t)TQ); //TQ_CAN[0];
	TxData[2] = ((int16_t)TQ) >> 8; //TQ_CAN[1];
	if (HAL_CAN_AddTxMessage(&hcan1, &TxHeader, TxData, &TxMailbox) != HAL_OK)
	{
		CAN_dbflt++;
	   Error_Handler ();
	}}

void CAN_APPS(int plausflt){	// send apps

	TxHeader.IDE = CAN_ID_STD;
	if (plausflt == 1){TxHeader.StdId = 0x102;}		// Error
	else{TxHeader.StdId = 0x248;}		// No error

	TxHeader.RTR = CAN_RTR_DATA;
	TxHeader.DLC = 6;

	TxData[0] = APPS_error & 0xFF; // Lower byte of APPS_error
	TxData[1] = (APPS_error >> 8) & 0xFF; // Upper byte of APPS_error
	TxData[2] = APPS1 & 0xFF; // Lower byte of APPS1
	TxData[3] = (APPS1 >> 8) & 0xFF; // Upper byte of APPS1
	TxData[4] = APPS2 & 0xFF; // Lower byte of APPS2
	TxData[5] = (APPS2 >> 8) & 0xFF; // Upper byte of APPS2

	if (HAL_CAN_AddTxMessage(&hcan1, &TxHeader, TxData, &TxMailbox) != HAL_OK)
	{
		CAN_dbflt++;
	   Error_Handler ();
	}}

void CAN_BSE1(int plausflt){		// send bse

	TxHeader.IDE = CAN_ID_STD;
	if (plausflt == 1){TxHeader.StdId = 0x103;}		// Error
	else{TxHeader.StdId = 0x249;}		// No error

	TxHeader.RTR = CAN_RTR_DATA;
	TxHeader.DLC = 6;

	TxData[0] = BSE1_error & 0xFF; // Lower byte of APPS_error
	TxData[1] = (BSE1_error >> 8) & 0xFF; // Upper byte of APPS_error
	TxData[2] = BSE1 & 0xFF; // Lower byte of APPS1
	TxData[3] = (BSE1 >> 8) & 0xFF; // Upper byte of APPS1
	TxData[4] = BSE2 & 0xFF; // Lower byte of APPS2
	TxData[5] = (BSE2 >> 8) & 0xFF; // Upper byte of APPS2

	if (HAL_CAN_AddTxMessage(&hcan1, &TxHeader, TxData, &TxMailbox) != HAL_OK)
	{
		CAN_dbflt++;
	   Error_Handler ();
	}}
void CAN_BSE2(int plausflt){		// send bse

	TxHeader.IDE = CAN_ID_STD;
	if (plausflt == 1){TxHeader.StdId = 0x103;}		// Error
	else{TxHeader.StdId = 0x249;}		// No error

	TxHeader.RTR = CAN_RTR_DATA;
	TxHeader.DLC = 6;

	TxData[0] = BSE2_error & 0xFF; // Lower byte of APPS_error
	TxData[1] = (BSE2_error >> 8) & 0xFF; // Upper byte of APPS_error
	TxData[2] = BSE1 & 0xFF; // Lower byte of APPS1
	TxData[3] = (BSE1 >> 8) & 0xFF; // Upper byte of APPS1
	TxData[4] = BSE2 & 0xFF; // Lower byte of APPS2
	TxData[5] = (BSE2 >> 8) & 0xFF; // Upper byte of APPS2

	if (HAL_CAN_AddTxMessage(&hcan1, &TxHeader, TxData, &TxMailbox) != HAL_OK)
	{
		CAN_dbflt++;
	   Error_Handler ();
	}}
void CAN_log(int logval){		// send log status

	TxHeader.IDE = CAN_ID_STD;
	TxHeader.StdId = 0x212;
	TxHeader.RTR = CAN_RTR_DATA;
	TxHeader.DLC = 1;
	if(logval == 0){TxData[0] = 0;}
	else{TxData[0] = 255;}
	if (HAL_CAN_AddTxMessage(&hcan1, &TxHeader, TxData, &TxMailbox) != HAL_OK)
	{
		CAN_dbflt++;
	   Error_Handler ();
	}}

void CAN_tempmode(void){		// send tempmode to tempcard

	TxHeader.IDE = CAN_ID_STD;
	TxHeader.StdId = 0x213;
	TxHeader.RTR = CAN_RTR_DATA;
	TxHeader.DLC = 1;
	Temp_mode = Temp_pos;
	TxData[0] = Temp_mode;
	if (HAL_CAN_AddTxMessage(&hcan1, &TxHeader, TxData, &TxMailbox) != HAL_OK)
	{
		CAN_dbflt++;
	   Error_Handler ();
	}}

void CAN_dispmode(void){		// send tempmode to tempcard

	TxHeader.IDE = CAN_ID_STD;
	TxHeader.StdId = 0x215;
	TxHeader.RTR = CAN_RTR_DATA;
	TxHeader.DLC = 1;
	TxData[0] = Disp_mode;
	if (HAL_CAN_AddTxMessage(&hcan1, &TxHeader, TxData, &TxMailbox) != HAL_OK)
	{
		CAN_dbflt++;
	   Error_Handler ();
	}}

void CAN2_test(void){

	TxHeader.IDE = CAN_ID_STD;
	TxHeader.StdId = 0x447;
	TxHeader.RTR = CAN_RTR_DATA;
	TxHeader.DLC = 2;

	TxData[0] = 50;
	TxData[1] = 0xAA;
	if (HAL_CAN_AddTxMessage(&hcan2, &TxHeader, TxData, &TxMailbox) != HAL_OK)
	{
		CAN_dbflt++;
	   Error_Handler ();
	}}

void CAN_MCU_read_init(void){

	CAN_TxHeaderTypeDef RxInitHeader;
	RxInitHeader.IDE = CAN_ID_STD;
	RxInitHeader.StdId = 0x210;
	RxInitHeader.RTR = CAN_RTR_DATA;
	RxInitHeader.DLC = 3;

	uint8_t tmpTxData[8];

	    //test++;
	tmpTxData[0] = 0x3D;
	tmpTxData[1] = 0x27;
	tmpTxData[2] = 10;

	uint32_t tmpMailbox;

	if (HAL_CAN_AddTxMessage(&hcan1, &RxInitHeader, tmpTxData, &tmpMailbox) != HAL_OK)
	{
		CAN_dbflt++;
//		Error_Handler ()
	}

	for(uint16_t i; i < 1000; i++){
		if(HAL_CAN_GetTxMailboxesFreeLevel(&hcan1) > 1) break;
		HAL_Delay(10);
	}

	tmpTxData[1] = 0x28;

	if (HAL_CAN_AddTxMessage(&hcan1, &RxInitHeader, tmpTxData, &tmpMailbox) != HAL_OK)
		{
			CAN_dbflt++;
	//		Error_Handler ()
		}

	for(uint16_t i; i < 1000; i++){
		if(HAL_CAN_GetTxMailboxesFreeLevel(&hcan1) > 1) break;
		HAL_Delay(10);
	}

	tmpTxData[1] = 0x29;

	if (HAL_CAN_AddTxMessage(&hcan1, &RxInitHeader, tmpTxData, &tmpMailbox) != HAL_OK)
		{
			CAN_dbflt++;
	//		Error_Handler ()
			}

	for(uint16_t i; i < 1000; i++){
		if(HAL_CAN_GetTxMailboxesFreeLevel(&hcan1) > 1) break;
		HAL_Delay(10);
	}

	tmpTxData[1] = 0x2A;

	if (HAL_CAN_AddTxMessage(&hcan1, &RxInitHeader, tmpTxData, &tmpMailbox) != HAL_OK)
		{
			CAN_dbflt++;
	//		Error_Handler ()
		}

	for(uint16_t i; i < 1000; i++){
		if(HAL_CAN_GetTxMailboxesFreeLevel(&hcan1) > 1) break;
		HAL_Delay(10);
	}

	tmpTxData[1] = 0x30;

	if (HAL_CAN_AddTxMessage(&hcan1, &RxInitHeader, tmpTxData, &tmpMailbox) != HAL_OK)
		{
			CAN_dbflt++;
	//		Error_Handler ()
		}

	for(uint16_t i; i < 1000; i++){
		if(HAL_CAN_GetTxMailboxesFreeLevel(&hcan1) > 1) break;
		HAL_Delay(10);
	}

	tmpTxData[1] = 0xEB;

	if (HAL_CAN_AddTxMessage(&hcan1, &RxInitHeader, tmpTxData, &tmpMailbox) != HAL_OK)
		{
			CAN_dbflt++;
	//		Error_Handler ()
		}

	for(uint16_t i; i < 1000; i++){
		if(HAL_CAN_GetTxMailboxesFreeLevel(&hcan1) > 1) break;
		HAL_Delay(1);
	}

	tmpTxData[1] = 0x8F;

	if (HAL_CAN_AddTxMessage(&hcan1, &RxInitHeader, tmpTxData, &tmpMailbox) != HAL_OK)
		{
			CAN_dbflt++;
	//		Error_Handler ()
		}

	for(uint16_t i; i < 1000; i++){
		if(HAL_CAN_GetTxMailboxesFreeLevel(&hcan1) > 1) break;
		HAL_Delay(1);
	}

	tmpTxData[1] = 0xF6;

	if (HAL_CAN_AddTxMessage(&hcan1, &RxInitHeader, tmpTxData, &tmpMailbox) != HAL_OK)
		{
			CAN_dbflt++;
	//		Error_Handler ()
		}

	for(uint16_t i; i < 1000; i++){
		if(HAL_CAN_GetTxMailboxesFreeLevel(&hcan1) > 1) break;
		HAL_Delay(1);
	}

}

/* USER CODE END 0 */

int main(void)
{

  /* MCU Configuration--------------------------------------------------------*/

  /* Reset of all peripherals, Initializes the Flash interface and the Systick. */
  HAL_Init();

  /* Configure the system clock */
  SystemClock_Config();

  /* Initialize all configured peripherals */
  MX_GPIO_Init();
  MX_ADC1_Init();
  MX_ADC2_Init();

  Startup_run();
  HAL_Delay(1000);

  MX_CAN1_Init();
  MX_CAN2_Init();
  MX_TIM3_Init();
  MX_TIM6_Init();
  MX_TIM7_Init();
  /* USER CODE BEGIN 2 */

   canfil.FilterBank = 0;
   canfil.FilterMode = CAN_FILTERMODE_IDMASK;
   canfil.FilterFIFOAssignment = CAN_RX_FIFO0;
   canfil.FilterIdHigh = 0x220;
   canfil.FilterIdLow = 0x179;
   canfil.FilterMaskIdHigh = 0;
   canfil.FilterMaskIdLow = 0;
   canfil.FilterScale = CAN_FILTERSCALE_32BIT;
   canfil.FilterActivation = ENABLE;
   canfil.SlaveStartFilterBank = 14;

  HAL_TIM_PWM_Start(&htim3, TIM_CHANNEL_4);		// starts filter clock
  HAL_TIM_Base_Start_IT(&htim6);		// Starts clock
  HAL_TIM_Base_Start_IT(&htim7);
  HAL_CAN_ConfigFilter(&hcan1,&canfil);
  HAL_CAN_ConfigFilter(&hcan2,&canfil);
  HAL_CAN_Start(&hcan1);
  HAL_CAN_Start(&hcan2);
  if (HAL_CAN_ActivateNotification(&hcan1, CAN_IT_RX_FIFO0_MSG_PENDING) != HAL_OK){Error_Handler();}
  if (HAL_CAN_ActivateNotification(&hcan2, CAN_IT_RX_FIFO0_MSG_PENDING) != HAL_OK) {Error_Handler();}

  HAL_Delay(100);

  CAN_MCU_read_init();

  power_limiter_initialize();

  /* USER CODE END 2 */

  /* Infinite loop */
  while (1)
  {

  }
}

void SystemClock_Config(void)
{
  RCC_OscInitTypeDef RCC_OscInitStruct = {0};
  RCC_ClkInitTypeDef RCC_ClkInitStruct = {0};

  /** Initializes the RCC Oscillators according to the specified parameters
  * in the RCC_OscInitTypeDef structure.
  */
  RCC_OscInitStruct.OscillatorType = RCC_OSCILLATORTYPE_HSE;
  RCC_OscInitStruct.HSEState = RCC_HSE_ON;
  RCC_OscInitStruct.PLL.PLLState = RCC_PLL_ON;
  RCC_OscInitStruct.PLL.PLLSource = RCC_PLLSOURCE_HSE;
  RCC_OscInitStruct.PLL.PLLM = 16;
  RCC_OscInitStruct.PLL.PLLN = 240;
  RCC_OscInitStruct.PLL.PLLP = RCC_PLLP_DIV2;
  RCC_OscInitStruct.PLL.PLLQ = 4;
  if (HAL_RCC_OscConfig(&RCC_OscInitStruct) != HAL_OK)
  {
    Error_Handler();
  }

  /** Initializes the CPU, AHB and APB buses clocks
  */
  RCC_ClkInitStruct.ClockType = RCC_CLOCKTYPE_HCLK|RCC_CLOCKTYPE_SYSCLK
                              |RCC_CLOCKTYPE_PCLK1|RCC_CLOCKTYPE_PCLK2;
  RCC_ClkInitStruct.SYSCLKSource = RCC_SYSCLKSOURCE_PLLCLK;
  RCC_ClkInitStruct.AHBCLKDivider = RCC_SYSCLK_DIV1;
  RCC_ClkInitStruct.APB1CLKDivider = RCC_HCLK_DIV4;
  RCC_ClkInitStruct.APB2CLKDivider = RCC_HCLK_DIV2;

  if (HAL_RCC_ClockConfig(&RCC_ClkInitStruct, FLASH_LATENCY_3) != HAL_OK)
  {
    Error_Handler();
  }
}

static void MX_ADC1_Init(void)
{

  ADC_ChannelConfTypeDef sConfig = {0};

  /** Configure the global features of the ADC (Clock, Resolution, Data Alignment and number of conversion)
  */
  hadc1.Instance = ADC1;
  hadc1.Init.ClockPrescaler = ADC_CLOCK_SYNC_PCLK_DIV6;
  hadc1.Init.Resolution = ADC_RESOLUTION_12B;
  hadc1.Init.ScanConvMode = DISABLE;
  hadc1.Init.ContinuousConvMode = DISABLE;
  hadc1.Init.DiscontinuousConvMode = DISABLE;
  hadc1.Init.ExternalTrigConvEdge = ADC_EXTERNALTRIGCONVEDGE_NONE;
  hadc1.Init.ExternalTrigConv = ADC_SOFTWARE_START;
  hadc1.Init.DataAlign = ADC_DATAALIGN_RIGHT;
  hadc1.Init.NbrOfConversion = 1;
  hadc1.Init.DMAContinuousRequests = DISABLE;
  hadc1.Init.EOCSelection = ADC_EOC_SINGLE_CONV;
  if (HAL_ADC_Init(&hadc1) != HAL_OK)
  {
    Error_Handler();
  }

  /** Configure for the selected ADC regular channel its corresponding rank in the sequencer and its sample time.
  */
  sConfig.Channel = ADC_CHANNEL_14;
  sConfig.Rank = 1;
  sConfig.SamplingTime = ADC_SAMPLETIME_3CYCLES;
  if (HAL_ADC_ConfigChannel(&hadc1, &sConfig) != HAL_OK)
  {
    Error_Handler();
  }

}

static void MX_ADC2_Init(void)
{

  ADC_ChannelConfTypeDef sConfig = {0};

  /** Configure the global features of the ADC (Clock, Resolution, Data Alignment and number of conversion)
  */
  hadc2.Instance = ADC2;
  hadc2.Init.ClockPrescaler = ADC_CLOCK_SYNC_PCLK_DIV6;
  hadc2.Init.Resolution = ADC_RESOLUTION_12B;
  hadc2.Init.ScanConvMode = DISABLE;
  hadc2.Init.ContinuousConvMode = DISABLE;
  hadc2.Init.DiscontinuousConvMode = DISABLE;
  hadc2.Init.ExternalTrigConvEdge = ADC_EXTERNALTRIGCONVEDGE_NONE;
  hadc2.Init.ExternalTrigConv = ADC_SOFTWARE_START;
  hadc2.Init.DataAlign = ADC_DATAALIGN_RIGHT;
  hadc2.Init.NbrOfConversion = 1;
  hadc2.Init.DMAContinuousRequests = DISABLE;
  hadc2.Init.EOCSelection = ADC_EOC_SINGLE_CONV;
  if (HAL_ADC_Init(&hadc2) != HAL_OK)
  {
    Error_Handler();
  }

  /** Configure for the selected ADC regular channel its corresponding rank in the sequencer and its sample time.
  */
  sConfig.Channel = ADC_CHANNEL_4;
  sConfig.Rank = 1;
  sConfig.SamplingTime = ADC_SAMPLETIME_3CYCLES;
  if (HAL_ADC_ConfigChannel(&hadc2, &sConfig) != HAL_OK)
  {
    Error_Handler();
  }

}

static void MX_CAN1_Init(void)
{

  hcan1.Instance = CAN1;
  hcan1.Init.Prescaler = 6;
  hcan1.Init.Mode = CAN_MODE_NORMAL;
  hcan1.Init.SyncJumpWidth = CAN_SJW_1TQ;
  hcan1.Init.TimeSeg1 = CAN_BS1_3TQ;
  hcan1.Init.TimeSeg2 = CAN_BS2_6TQ;
  hcan1.Init.TimeTriggeredMode = DISABLE;
  hcan1.Init.AutoBusOff = DISABLE;
  hcan1.Init.AutoWakeUp = DISABLE;
  hcan1.Init.AutoRetransmission = DISABLE;
  hcan1.Init.ReceiveFifoLocked = DISABLE;
  hcan1.Init.TransmitFifoPriority = DISABLE;
  if (HAL_CAN_Init(&hcan1) != HAL_OK)
  {
    Error_Handler();
  }

}

static void MX_CAN2_Init(void)
{

  hcan2.Instance = CAN2;
  hcan2.Init.Prescaler = 6;
  hcan2.Init.Mode = CAN_MODE_NORMAL;
  hcan2.Init.SyncJumpWidth = CAN_SJW_1TQ;
  hcan2.Init.TimeSeg1 = CAN_BS1_3TQ;
  hcan2.Init.TimeSeg2 = CAN_BS2_6TQ;
  hcan2.Init.TimeTriggeredMode = DISABLE;
  hcan2.Init.AutoBusOff = DISABLE;
  hcan2.Init.AutoWakeUp = DISABLE;
  hcan2.Init.AutoRetransmission = DISABLE;
  hcan2.Init.ReceiveFifoLocked = DISABLE;
  hcan2.Init.TransmitFifoPriority = DISABLE;
  if (HAL_CAN_Init(&hcan2) != HAL_OK)
  {
    Error_Handler();
  }

}

static void MX_TIM3_Init(void)
{

  TIM_ClockConfigTypeDef sClockSourceConfig = {0};
  TIM_MasterConfigTypeDef sMasterConfig = {0};
  TIM_OC_InitTypeDef sConfigOC = {0};

  htim3.Instance = TIM3;
  htim3.Init.Prescaler = 10-1;
  htim3.Init.CounterMode = TIM_COUNTERMODE_UP;
  htim3.Init.Period = 240-1;
  htim3.Init.ClockDivision = TIM_CLOCKDIVISION_DIV1;
  htim3.Init.AutoReloadPreload = TIM_AUTORELOAD_PRELOAD_DISABLE;
  if (HAL_TIM_Base_Init(&htim3) != HAL_OK)
  {
    Error_Handler();
  }
  sClockSourceConfig.ClockSource = TIM_CLOCKSOURCE_INTERNAL;
  if (HAL_TIM_ConfigClockSource(&htim3, &sClockSourceConfig) != HAL_OK)
  {
    Error_Handler();
  }
  if (HAL_TIM_PWM_Init(&htim3) != HAL_OK)
  {
    Error_Handler();
  }
  sMasterConfig.MasterOutputTrigger = TIM_TRGO_RESET;
  sMasterConfig.MasterSlaveMode = TIM_MASTERSLAVEMODE_DISABLE;
  if (HAL_TIMEx_MasterConfigSynchronization(&htim3, &sMasterConfig) != HAL_OK)
  {
    Error_Handler();
  }
  sConfigOC.OCMode = TIM_OCMODE_PWM1;
  sConfigOC.Pulse = 120;
  sConfigOC.OCPolarity = TIM_OCPOLARITY_HIGH;
  sConfigOC.OCFastMode = TIM_OCFAST_DISABLE;
  if (HAL_TIM_PWM_ConfigChannel(&htim3, &sConfigOC, TIM_CHANNEL_4) != HAL_OK)
  {
    Error_Handler();
  }
  HAL_TIM_MspPostInit(&htim3);

}

static void MX_TIM6_Init(void)
{

  TIM_MasterConfigTypeDef sMasterConfig = {0};

  htim6.Instance = TIM6;
  htim6.Init.Prescaler = 600-1;
  htim6.Init.CounterMode = TIM_COUNTERMODE_UP;
  htim6.Init.Period = 10000-1;
  htim6.Init.AutoReloadPreload = TIM_AUTORELOAD_PRELOAD_DISABLE;
  if (HAL_TIM_Base_Init(&htim6) != HAL_OK)
  {
    Error_Handler();
  }
  sMasterConfig.MasterOutputTrigger = TIM_TRGO_RESET;
  sMasterConfig.MasterSlaveMode = TIM_MASTERSLAVEMODE_DISABLE;
  if (HAL_TIMEx_MasterConfigSynchronization(&htim6, &sMasterConfig) != HAL_OK)
  {
    Error_Handler();
  }

}

static void MX_TIM7_Init(void)
{

  TIM_MasterConfigTypeDef sMasterConfig = {0};

  htim7.Instance = TIM7;
  htim7.Init.Prescaler = 600-1;
  htim7.Init.CounterMode = TIM_COUNTERMODE_UP;
  htim7.Init.Period = 1000-1;
  htim7.Init.AutoReloadPreload = TIM_AUTORELOAD_PRELOAD_DISABLE;
  if (HAL_TIM_Base_Init(&htim7) != HAL_OK)
  {
    Error_Handler();
  }
  sMasterConfig.MasterOutputTrigger = TIM_TRGO_RESET;
  sMasterConfig.MasterSlaveMode = TIM_MASTERSLAVEMODE_DISABLE;
  if (HAL_TIMEx_MasterConfigSynchronization(&htim7, &sMasterConfig) != HAL_OK)
  {
    Error_Handler();
  }

}

static void MX_GPIO_Init(void)
{
  GPIO_InitTypeDef GPIO_InitStruct = {0};
/* USER CODE BEGIN MX_GPIO_Init_1 */

  /*Configure GPIO pins : CAN1_RX, CAN1TX */
  GPIO_InitStruct.Pin = GPIO_PIN_11|GPIO_PIN_12;
  GPIO_InitStruct.Mode = GPIO_MODE_AF_PP;
  GPIO_InitStruct.Alternate = GPIO_AF9_CAN1;
  GPIO_InitStruct.Pull = GPIO_PULLUP;
  HAL_GPIO_Init(GPIOA, &GPIO_InitStruct);
  /*Configure GPIO pins : CAN2_RX, CAN2TX */
  GPIO_InitStruct.Pin = GPIO_PIN_12|GPIO_PIN_13;
  GPIO_InitStruct.Mode = GPIO_MODE_AF_PP;
  GPIO_InitStruct.Alternate = GPIO_AF9_CAN2;
  HAL_GPIO_Init(GPIOB, &GPIO_InitStruct);

/* USER CODE END MX_GPIO_Init_1 */

  /* GPIO Ports Clock Enable */
  __HAL_RCC_GPIOH_CLK_ENABLE();
  __HAL_RCC_GPIOC_CLK_ENABLE();
  __HAL_RCC_GPIOA_CLK_ENABLE();
  __HAL_RCC_GPIOB_CLK_ENABLE();
  __HAL_RCC_GPIOD_CLK_ENABLE();

  /*Configure GPIO pin Output Level */
  HAL_GPIO_WritePin(GPIOA, LED_debug_Pin|LED_flt1_Pin|LED_flt2_Pin, GPIO_PIN_RESET);

  /*Configure GPIO pin Output Level */
  HAL_GPIO_WritePin(LED_dash1_GPIO_Port, LED_dash1_Pin, GPIO_PIN_RESET);

  /*Configure GPIO pin Output Level */
  HAL_GPIO_WritePin(GPIOB, LED_dash3_Pin|RTDS_Pin|LED_dash4_Pin|LED_dash2_Pin
                          |LED_brake_Pin|RUN_Pin|RFE_Pin, GPIO_PIN_RESET);

  /*Configure GPIO pins : START_Pin STOP_Pin */
  GPIO_InitStruct.Pin = START_Pin|STOP_Pin;
  GPIO_InitStruct.Mode = GPIO_MODE_IT_RISING;
  GPIO_InitStruct.Pull = GPIO_NOPULL;
  HAL_GPIO_Init(GPIOC, &GPIO_InitStruct);

  /*Configure GPIO pins : TS_state_Pin Regen_Pin */
  GPIO_InitStruct.Pin = TS_state_Pin|Regen_Pin;
  GPIO_InitStruct.Mode = GPIO_MODE_INPUT;
  GPIO_InitStruct.Pull = GPIO_NOPULL;
  HAL_GPIO_Init(GPIOC, &GPIO_InitStruct);

  /*Configure GPIO pins : LED_debug_Pin LED_flt1_Pin LED_flt2_Pin */
  GPIO_InitStruct.Pin = LED_debug_Pin|LED_flt1_Pin|LED_flt2_Pin;
  GPIO_InitStruct.Mode = GPIO_MODE_OUTPUT_PP;
  GPIO_InitStruct.Pull = GPIO_NOPULL;
  GPIO_InitStruct.Speed = GPIO_SPEED_FREQ_LOW;
  HAL_GPIO_Init(GPIOA, &GPIO_InitStruct);

  /*Configure GPIO pins : RS_TX_Pin RS_RX_Pin */
  GPIO_InitStruct.Pin = RS_TX_Pin|RS_RX_Pin;
  GPIO_InitStruct.Mode = GPIO_MODE_AF_PP;
  GPIO_InitStruct.Pull = GPIO_NOPULL;
  GPIO_InitStruct.Speed = GPIO_SPEED_FREQ_LOW;
  GPIO_InitStruct.Alternate = GPIO_AF7_USART1;
  HAL_GPIO_Init(GPIOA, &GPIO_InitStruct);

  /*Configure GPIO pin : LED_dash1_Pin */
  GPIO_InitStruct.Pin = LED_dash1_Pin;
  GPIO_InitStruct.Mode = GPIO_MODE_OUTPUT_PP;
  GPIO_InitStruct.Pull = GPIO_NOPULL;
  GPIO_InitStruct.Speed = GPIO_SPEED_FREQ_LOW;
  HAL_GPIO_Init(LED_dash1_GPIO_Port, &GPIO_InitStruct);

  /*Configure GPIO pins : LED_dash3_Pin RTDS_Pin LED_dash4_Pin LED_dash2_Pin
                           LED_brake_Pin RUN_Pin RFE_Pin */
  GPIO_InitStruct.Pin = LED_dash3_Pin|RTDS_Pin|LED_dash4_Pin|LED_dash2_Pin
                          |LED_brake_Pin|RUN_Pin|RFE_Pin;
  GPIO_InitStruct.Mode = GPIO_MODE_OUTPUT_PP;
  GPIO_InitStruct.Pull = GPIO_NOPULL;
  GPIO_InitStruct.Speed = GPIO_SPEED_FREQ_LOW;
  HAL_GPIO_Init(GPIOB, &GPIO_InitStruct);

  /* EXTI interrupt init*/
  HAL_NVIC_SetPriority(EXTI0_IRQn, 0, 0);
  HAL_NVIC_EnableIRQ(EXTI0_IRQn);

  HAL_NVIC_SetPriority(EXTI1_IRQn, 0, 0);
  HAL_NVIC_EnableIRQ(EXTI1_IRQn);

}

/* USER CODE BEGIN 4 */
void HAL_CAN_RxFifo0MsgPendingCallback(CAN_HandleTypeDef *hcan)
{
	test++;
  if (HAL_CAN_GetRxMessage(hcan, CAN_RX_FIFO0, &RxHeader, RxData) != HAL_OK)
  {
    Error_Handler();
  }

  if ((RxHeader.StdId == 0x215)){
	  temp = RxData[0];

//	  if(temp>tempmax){HAL_GPIO_WritePin(LED_dash1_GPIO_Port, LED_dash1_Pin, GPIO_PIN_SET);}
//	  else{HAL_GPIO_WritePin(LED_dash1_GPIO_Port, LED_dash1_Pin, GPIO_PIN_RESET);}
  }

//  if ((RxHeader.StdId == 0xxxx)){
//	  acc = RxData[0];
//  }

  if (RxHeader.StdId == 0x191) // Check if the received message has standard ID
  {
	  switch(RxData[0]){
	  case 0x27:
		  MCU_iq = (int16_t)RxData[2] << 8 | RxData[1];
		  break;
	  case 0x28:
		  MCU_id = (int16_t)RxData[2] << 8 | RxData[1];
		  break;
	  case 0x29:
		  MCU_vq = (int16_t)RxData[2] << 8 | RxData[1];
		 break;
	  case 0x2A:
		  MCU_vd = (int16_t)RxData[2] << 8 | RxData[1];
		  break;
	case 0x30:
		  MCU_RPM = (int16_t)RxData[2] << 8 | RxData[1];
		 break;
	  case 0xEB:
		  MCU_Vdc = (int16_t)RxData[2] << 8 | RxData[1];
		  break;
	  default:
		  break;

	  }
  }

	  if (RxHeader.StdId == 0x201){
		  AMS_vdc = (uint16_t)RxData[0] << 8 | RxData[1];
		  AMS_idc = (int16_t)RxData[2] << 8 | RxData[3];
		  AMS_ilimp = (int16_t)RxData[4] << 8 | RxData[5];
		  AMS_ilimn = (int16_t)RxData[6] << 8 | RxData[7];
	  }

}

float tqtest = 0, iq_test, id_test, vq_test, vd_test, vdc_test, p_ams_test, p_diff_test, p_mcu_test;

void HAL_TIM_PeriodElapsedCallback(TIM_HandleTypeDef *htim)

{
	if (htim == &htim7){			//running 100 times per sec
		//TQ = TQ_prev;
		Torq_calc();
		BSPD();
		if (TQ_online == 0){TQ = 0;}
		TQ_pre = TQ;

//		vdc_test = 0.9 * vdc_test + 0.1 * (float)MCU_Vdc / 54.64;
//		id_test = 0.9 * id_test + 0.1 * (float)MCU_id * 28 / 70;
//		iq_test = 0.9 * iq_test + 0.1 * (float)MCU_iq * 28 / 70;
//		vd_test = 0.9 * vd_test + 0.1 * (float)MCU_vd / 4096 * vdc_test / sqrt(2);
//		vq_test = 0.9 * vq_test + 0.1 * (float)MCU_vq / 4096 * vdc_test / sqrt(2);

		float mcu_vdc = (float)MCU_Vdc / 54.64;
		float mcu_id = (2 / sqrt(3)) * 28 / 70;
		float mcu_iq = (2 / sqrt(3)) * 28 / 70;
		float mcu_vd = (sqrt(3) / 2) / 4096;
		float mcu_vq = (sqrt(3) / 2) / 4096;
//
////		p_mcu_test = mcu_vd * mcu_id + mcu_vq * mcu_iq;
////		p_ams_test = 0.9 * p_ams_test + 0.1 * (float)AMS_vdc/100 * (float)AMS_idc/100;
////		p_diff_test = p_ams_test - p_mcu_test;
//
//
//		power_limiter_U.i_lim_fuse = 200;
//		power_limiter_U.i_q_max = 360;
//		power_limiter_U.p_limp = 15000;
//		power_limiter_U.p_limn = 40000;
//		power_limiter_U.p_max = 100000;
//		power_limiter_U.u_dc_nom = 400;
//
//		power_limiter_U.i_dc_ams = (float)AMS_idc / 100;
//		power_limiter_U.i_limp_ams = (float)AMS_ilimp / 100;
//		power_limiter_U.i_limn_ams = -(float)AMS_ilimn / 100;
////		power_limiter_U.i_limp_ams = 10000;
////		power_limiter_U.i_limn_ams = 1000;
//		power_limiter_U.m_ref = (float)TQ / INT16_MAX;
//		power_limiter_U.p_mcu = mcu_vd * mcu_id + mcu_vq * mcu_iq;
//		power_limiter_U.u_dc_ams = (float)AMS_vdc / 100;
//		power_limiter_U.u_dc_mcu = mcu_vdc;
//		power_limiter_U.u_q_mcu = mcu_vq;
//
//
//
//		power_limiter_step();
//
//		TQ = (int16_t)(power_limiter_Y.m_set * INT16_MAX);

//		TQ = tqtest * (INT16_MAX / 200);

//		float i_lim;
//		if(mcu_vq > 10) i_lim = 40000 / mcu_vq;
//		else i_lim = 40000 / 10;
//
//		if(TQ > i_lim) TQ = i_lim;

		//TQ_diff = TQ_prev - TQ;
		//if(TQ_diff < 0) {TQ_diff = 0;}
		//if(TQ_diff > diff_lim){
			//TQ = TQ_prev * 0.008;
		//}
		{if (RTD_state==1)
		{

		  CAN_TQ();
		      //TQ=12345;
		      //RTD_state = 0;
		}
		  else {
			  TQ = 0;
		      CAN_TQ();
		  }
	 }}

  if (htim == &htim6 ){				//Running 20 times per sec
	  BSE_calc();
	  Bremselys();
	  BSPD();
	  RSW_read();
	  RSW_calc();
	  Plaus();
	  CAN_tempmode();
	  TS_state = HAL_GPIO_ReadPin(GPIOC,TS_state_Pin);			// checks if TS is on
	  Regen_on = HAL_GPIO_ReadPin(GPIOC,Regen_Pin);				// Checks Regen toggle switch

	  if (TS_state == 0) {
		  RTD_state = 0;
	  }

	  if (Startup_mode == 1){Startup_time++;
		  if(Startup_time > Startup_maxtime){
			HAL_GPIO_WritePin(LED_dash1_GPIO_Port, LED_dash1_Pin, GPIO_PIN_RESET);
			HAL_GPIO_WritePin(GPIOB, LED_dash2_Pin, GPIO_PIN_RESET);
			HAL_GPIO_WritePin(GPIOB, LED_dash3_Pin, GPIO_PIN_RESET);
			Startup_mode = 0;
			Startup_time = 0;
			  }
		  }

	  if (APPS_avg < APPS_min && BSE_avg < BSE_min){
		  TQ_online = 1;												//Deactivate BSPD
		  if (Startup_mode == 0){
			  HAL_GPIO_WritePin(LED_dash1_GPIO_Port, LED_dash1_Pin, GPIO_PIN_RESET);  	//Turn on fault LED 2 on dashboard
		  	  }
		  }

	  {if (RTD_state==1)
  	  {

  		  //test++;
  	      HAL_GPIO_WritePin(GPIOB,RFE_Pin, GPIO_PIN_RESET); 		//Start sending RFE signal to the MCU
  	      HAL_GPIO_WritePin(GPIOB,RUN_Pin, GPIO_PIN_RESET);			//Stop send RUN signal to the MCU

  		}
  		  else {
  			  HAL_GPIO_WritePin(GPIOB, RFE_Pin, GPIO_PIN_SET);		//Stop sending RFE signal to the MCU
  		      HAL_GPIO_WritePin(GPIOB, RUN_Pin, GPIO_PIN_SET);		//Stop sending RUN signal to the MCU
			  HAL_GPIO_WritePin(GPIOB, LED_dash4_Pin, GPIO_PIN_RESET);   //Turn RTD led on dashboard Off

  		      //TQ = 0;
  		      //CAN_TQ();
  		  }
  	}

  if (RTDS_mode == 1){RTDS_time++;
  	  if(RTDS_time > RTDS_maxtime){
  		HAL_GPIO_WritePin(GPIOB,RTDS_Pin, GPIO_PIN_RESET);
		RTDS_mode = 0;
		RTDS_time = 0;
  	  	  }
  	  }

  }
}

void HAL_GPIO_EXTI_Callback(uint16_t GPIO_Pin){

    if (GPIO_Pin == START_Pin){
        BSE_read();

        if (BSE1_raw > BSE_start){		//Pressing the start button while holding the brake
        	if (TS_state == 1){			//Check if TS is on
        		RTD_state = 1;			//Set the car in RTD state
        		HAL_GPIO_WritePin(GPIOB, LED_dash4_Pin, GPIO_PIN_SET);   //Turn RTD led on dashboard ON
        		RTDS_run();//Activate the RTDS
        	}
            HAL_GPIO_WritePin(GPIOB, LED_dash2_Pin, GPIO_PIN_RESET);	//Resets the APPS plaus fault led on dash
            HAL_GPIO_WritePin(GPIOB, LED_dash3_Pin, GPIO_PIN_RESET);	//Resets the BSE plaus fault led on dash
            HAL_GPIO_WritePin(LED_dash1_GPIO_Port, LED_dash1_Pin, GPIO_PIN_RESET);		//Reset the temp LED on dash

            }
        }

    if (GPIO_Pin == STOP_Pin){
        RTD_state = 0;		//Takes the care out of RTD state
        HAL_GPIO_WritePin(GPIOB, LED_dash4_Pin, GPIO_PIN_RESET);   //Turn RTD led on dashboard off

        }
}
/* USER CODE END 4 */

void Error_Handler(void)
{
  __disable_irq();
  while (1)
  {
  }
}
